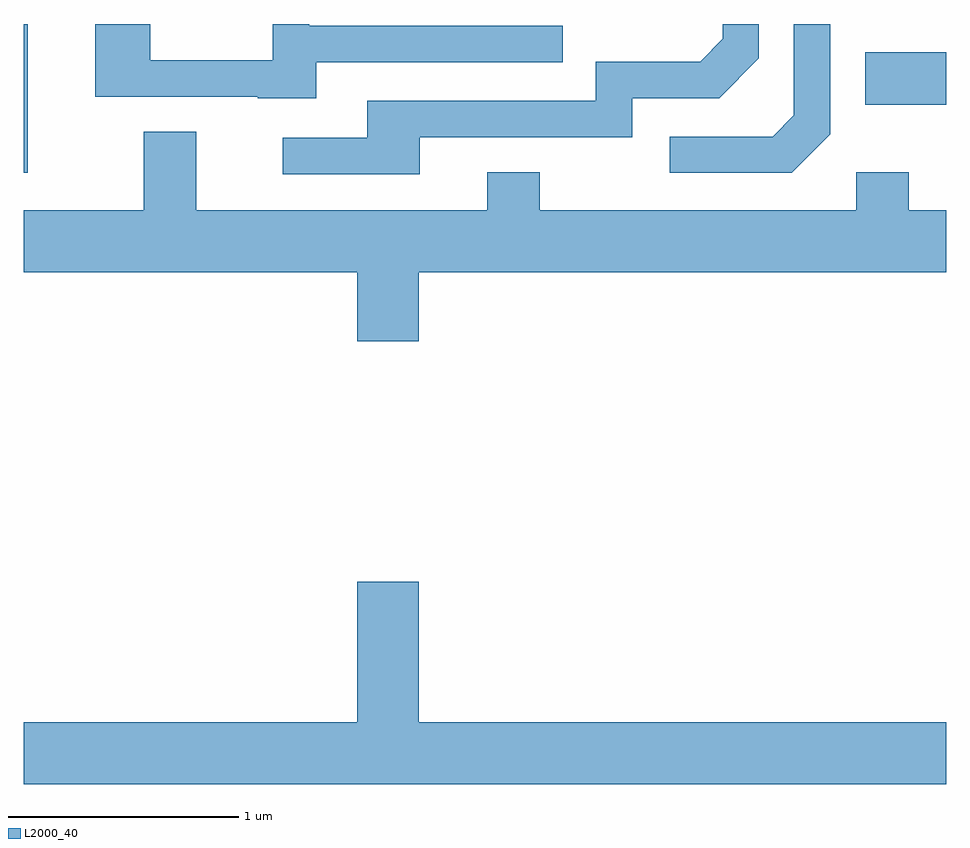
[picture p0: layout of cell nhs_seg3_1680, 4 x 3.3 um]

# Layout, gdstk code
import gdstk
lib = gdstk.Library(unit=1e-6, precision=1e-09)
def R(c, l, rs):  # rectangles x0, y0, x1, y1
    for r in rs: c.add(gdstk.rectangle(r[:2], r[2:], *l))
def P(c, l, *ps):  # polygons
    for p in ps: c.add(gdstk.Polygon(p, *l))
L2000_40 = (2000, 40)

nhs_seg3_1680 = lib.new_cell('nhs_seg3_1680')
R(nhs_seg3_1680, L2000_40, [(233.611,1215.246,233.629,1215.892), (237.261,1215.541,237.611,1215.769)])
P(nhs_seg3_1680, L2000_40, [(235.329,1215.401),(236.249,1215.401),(236.249,1215.571),(236.627,1215.571),(236.799,1215.744),(236.799,1215.892),(236.641,1215.892),(236.641,1215.827),(236.544,1215.729),(236.091,1215.729),(236.091,1215.559),(235.101,1215.559),(235.101,1215.399),(234.733,1215.399),(234.733,1215.241),(235.329,1215.241)],
  [(234.879,1215.726),(235.948,1215.726),(235.948,1215.884),(234.849,1215.884),(234.849,1215.892),(234.691,1215.892),(234.691,1215.734),(234.159,1215.734),(234.159,1215.892),(233.921,1215.892),(233.921,1215.576),(234.625,1215.576),(234.625,1215.571),(234.879,1215.571)],
  [(237.109,1215.414),(237.109,1215.892),(236.951,1215.892),(236.951,1215.497),(236.859,1215.404),(236.413,1215.404),(236.413,1215.246),(236.942,1215.246)],
  [(235.324,1214.816),(237.611,1214.816),(237.611,1215.084),(237.449,1215.084),(237.449,1215.249),(237.221,1215.249),(237.221,1215.084),(235.849,1215.084),(235.849,1215.249),(235.621,1215.249),(235.621,1215.084),(234.359,1215.084),(234.359,1215.424),(234.131,1215.424),(234.131,1215.084),(233.611,1215.084),(233.611,1214.816),(235.056,1214.816),(235.056,1214.516),(235.324,1214.516)],
  [(237.611,1212.864),(235.324,1212.864),(235.324,1213.474),(235.056,1213.474),(235.056,1212.864),(233.611,1212.864),(233.611,1212.596),(237.611,1212.596)])

lib.write_gds('nhs_seg3_1680.gds')
